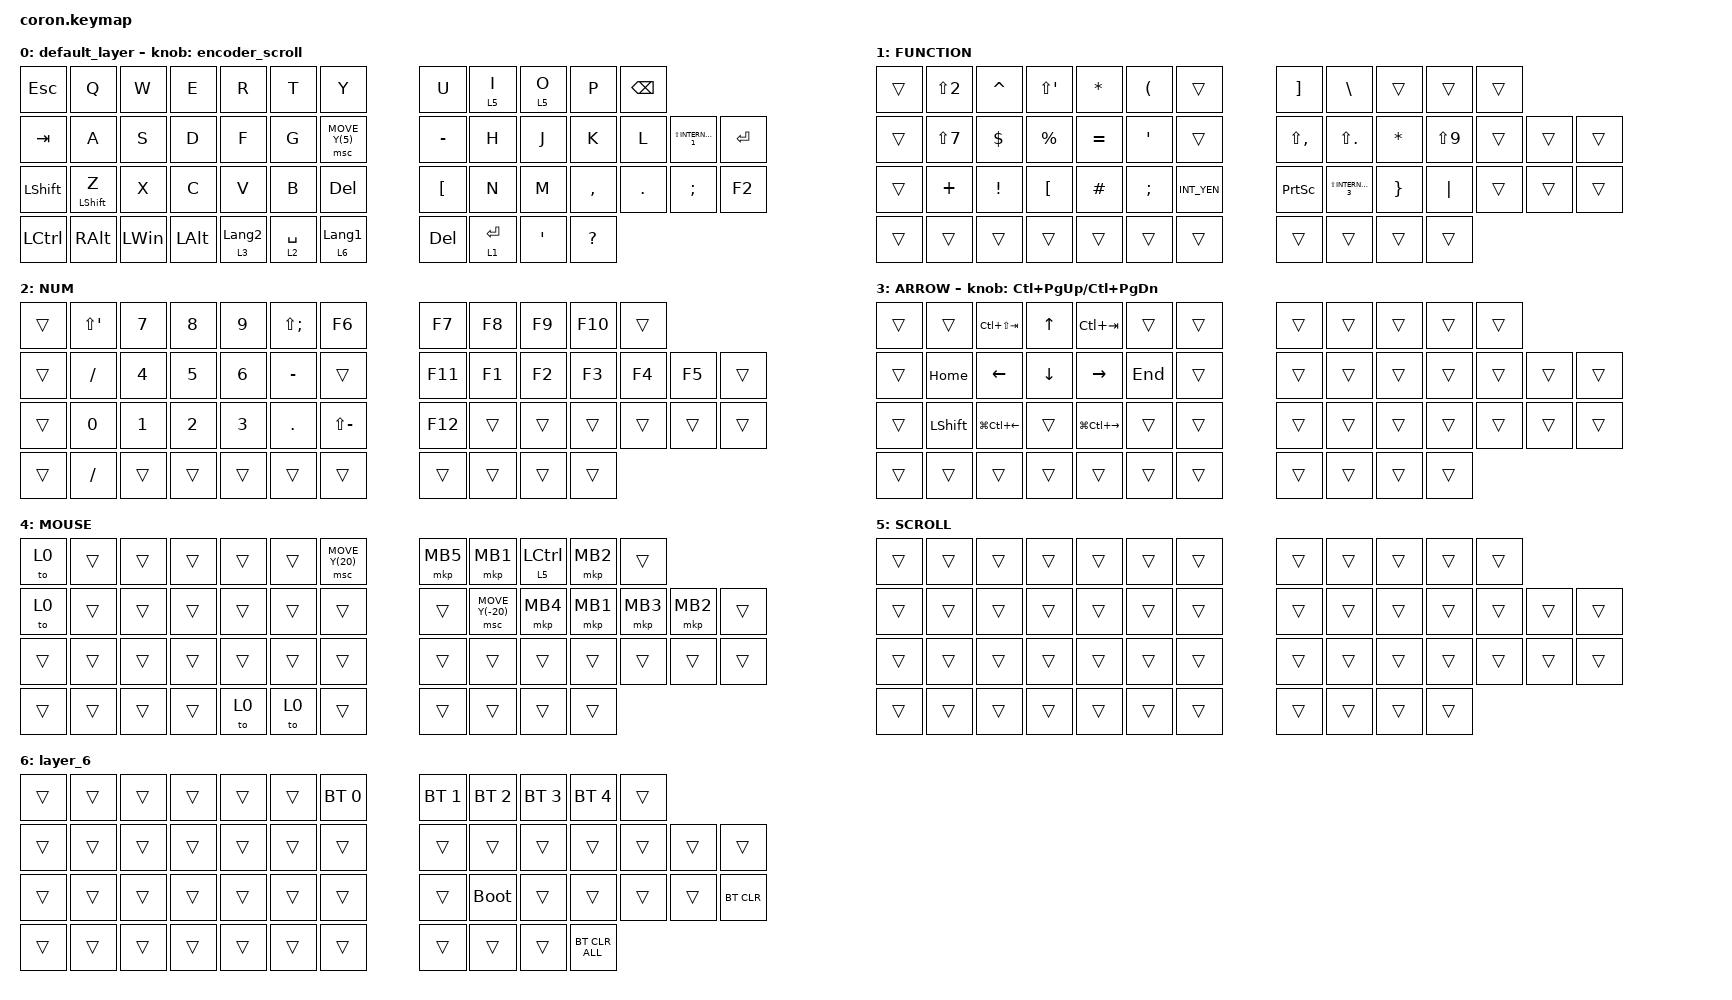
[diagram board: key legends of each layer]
/* coron.keymap */

#include <behaviors.dtsi>
#include <dt-bindings/zmk/bt.h>
#include <dt-bindings/zmk/keys.h>
#include <dt-bindings/zmk/pointing.h>

&mt {
    flavor = "balanced";
    quick-tap-ms = <0>;
};

&trackball {
    automouse-layer = <4>;
    scroll-layers = <5>;
};

/ {
    combos {
        compatible = "zmk,combos";

        /* Note: Key positions have shifted due to added columns. 
           You will need to recalculate these indices later. */

        tab {
            bindings = <&kp TAB>;
            key-positions = <11 12>;
        };

        shift_tab {
            bindings = <&kp LS(TAB)>;
            key-positions = <12 13>;
        };

        muhennkann {
            bindings = <&to_layer_0 INT_MUHENKAN>;
            key-positions = <11 10>;
        };

        double_quotation {
            bindings = <&kp DOUBLE_QUOTES>;
            key-positions = <20 21>;
        };

        eq {
            bindings = <&kp EQUAL>;
            key-positions = <24 25>;
        };
    };

    macros {
        to_layer_0: to_layer_0 {
            compatible = "zmk,behavior-macro-one-param";
            #binding-cells = <1>;
            bindings = <&to 0 &macro_param_1to1 &kp MACRO_PLACEHOLDER>;
            label = "TO_LAYER_0";
        };
    };

    behaviors {
        lt_to_layer_0: lt_to_layer_0 {
            compatible = "zmk,behavior-hold-tap";
            label = "LAYER_TAP_TO_0";
            bindings = <&mo>, <&to_layer_0>;

            #binding-cells = <2>;
            tapping-term-ms = <200>;
        };

        encoder_scroll: encoder_scroll {
            compatible = "zmk,behavior-sensor-rotate";
            label = "ENCODER_SCROLL";
            #sensor-binding-cells = <0>;
            tap-ms = <30>;
            bindings = <&msc MOVE_Y(-80)>, <&msc MOVE_Y(80)>;
        };
    };

    keymap {
        compatible = "zmk,keymap";

        default_layer {
            bindings = <
&kp ESC           &kp Q             &kp W         &kp E         &kp R                        &kp T        &kp Y                        &kp U             &lt 5 I      &lt 5 O   &kp P         &kp BACKSPACE
&kp TAB           &kp A             &kp S         &kp D         &kp F                        &kp G        &msc MOVE_Y(5)               &kp MINUS         &kp H        &kp J     &kp K         &kp L          &kp LS(INTERNATIONAL_1)  &kp ENTER
&kp LEFT_SHIFT    &mt LEFT_SHIFT Z  &kp X         &kp C         &kp V                        &kp B        &kp DEL                      &kp LEFT_BRACKET  &kp N        &kp M     &kp COMMA     &kp DOT        &kp SEMI                 &kp F2
&kp LEFT_CONTROL  &kp RIGHT_ALT     &kp LEFT_WIN  &kp LEFT_ALT  &lt_to_layer_0 3 LANGUAGE_2  &lt 2 SPACE  &lt_to_layer_0 6 LANGUAGE_1  &kp DELETE        &lt 1 ENTER  &kp APOS  &kp QUESTION
            >;

            sensor-bindings = <&encoder_scroll>;
        };

        FUNCTION {
            bindings = <
&trans  &kp LS(NUMBER_2)  &kp CARET        &kp LS(APOS)      &kp ASTRK  &kp LEFT_PARENTHESIS  &trans       &kp RIGHT_BRACKET  &kp BACKSLASH            &trans           &trans      &trans
&trans  &kp LS(N7)        &kp DOLLAR       &kp PERCENT       &kp EQUAL  &kp APOS              &trans       &kp LS(COMMA)      &kp LS(PERIOD)           &kp ASTRK        &kp LS(N9)  &trans  &trans  &trans
&trans  &kp PLUS          &kp EXCLAMATION  &kp LEFT_BRACKET  &kp HASH   &kp SEMI              &kp INT_YEN  &kp PSCRN          &kp LS(INTERNATIONAL_3)  &kp RIGHT_BRACE  &kp PIPE    &trans  &trans  &trans
&trans  &trans            &trans           &trans            &trans     &trans                &trans       &trans             &trans                   &trans           &trans
            >;
        };

        NUM {
            bindings = <
&trans  &kp LS(APOSTROPHE)  &kp N7        &kp N8        &kp N9        &kp LS(SEMI)  &kp F6         &kp F7   &kp F8  &kp F9  &kp F10  &trans
&trans  &kp SLASH           &kp NUMBER_4  &kp N5        &kp NUMBER_6  &kp MINUS     &trans         &kp F11  &kp F1  &kp F2  &kp F3   &kp F4  &kp F5  &trans
&trans  &kp N0              &kp NUMBER_1  &kp NUMBER_2  &kp NUMBER_3  &kp PERIOD    &kp LS(MINUS)  &kp F12  &trans  &trans  &trans   &trans  &trans  &trans
&trans  &kp SLASH           &trans        &trans        &trans        &trans        &trans         &trans   &trans  &trans  &trans
            >;
        };

        ARROW {
            bindings = <
&trans  &trans          &kp LC(LS(TAB))         &kp UP_ARROW    &kp LC(TAB)              &trans   &trans  &trans  &trans  &trans  &trans  &trans
&trans  &kp HOME        &kp LEFT_ARROW          &kp DOWN_ARROW  &kp RIGHT_ARROW          &kp END  &trans  &trans  &trans  &trans  &trans  &trans  &trans  &trans
&trans  &kp LEFT_SHIFT  &kp LG(LC(LEFT_ARROW))  &trans          &kp LG(LC(RIGHT_ARROW))  &trans   &trans  &trans  &trans  &trans  &trans  &trans  &trans  &trans
&trans  &trans          &trans                  &trans          &trans                   &trans   &trans  &trans  &trans  &trans  &trans
            >;

            sensor-bindings = <&inc_dec_kp LC(PAGE_UP) LC(PAGE_DOWN)>;
        };

        MOUSE {
            bindings = <
&to 0   &trans  &trans  &trans  &trans  &trans  &msc MOVE_Y(20)  &mkp MB5  &mkp MB1          &lt 5 LEFT_CONTROL  &mkp MB2  &trans
&to 0   &trans  &trans  &trans  &trans  &trans  &trans           &trans    &msc MOVE_Y(-20)  &mkp MB4            &mkp MB1  &mkp MB3  &mkp MB2  &trans
&trans  &trans  &trans  &trans  &trans  &trans  &trans           &trans    &trans            &trans              &trans    &trans    &trans    &trans
&trans  &trans  &trans  &trans  &to 0   &to 0   &trans           &trans    &trans            &trans              &trans
            >;
        };

        SCROLL {
            bindings = <
&trans  &trans  &trans  &trans  &trans  &trans  &trans  &trans  &trans  &trans  &trans  &trans
&trans  &trans  &trans  &trans  &trans  &trans  &trans  &trans  &trans  &trans  &trans  &trans  &trans  &trans
&trans  &trans  &trans  &trans  &trans  &trans  &trans  &trans  &trans  &trans  &trans  &trans  &trans  &trans
&trans  &trans  &trans  &trans  &trans  &trans  &trans  &trans  &trans  &trans  &trans
            >;
        };

        layer_6 {
            bindings = <
&trans  &trans  &trans  &trans  &trans  &trans  &bt BT_SEL 0  &bt BT_SEL 1  &bt BT_SEL 2  &bt BT_SEL 3  &bt BT_SEL 4    &trans
&trans  &trans  &trans  &trans  &trans  &trans  &trans        &trans        &trans        &trans        &trans          &trans  &trans  &trans
&trans  &trans  &trans  &trans  &trans  &trans  &trans        &trans        &bootloader   &trans        &trans          &trans  &trans  &bt BT_CLR
&trans  &trans  &trans  &trans  &trans  &trans  &trans        &trans        &trans        &trans        &bt BT_CLR_ALL
            >;
        };
    };
};
